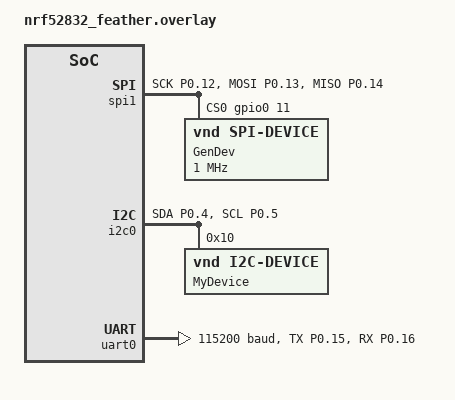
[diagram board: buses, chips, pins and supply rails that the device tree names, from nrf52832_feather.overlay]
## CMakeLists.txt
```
# SPDX-License-Identifier: Apache-2.0

cmake_minimum_required(VERSION 3.20.0)
find_package(Zephyr REQUIRED HINTS $ENV{ZEPHYR_BASE})
project(blinky)

target_sources(app PRIVATE src/main.c src/drivers/sharp.c src/font.c src/graphics.c src/watch_face.c src/drivers/gps.c src/track.c)
```

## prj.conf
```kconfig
CONFIG_GPIO=y

CONFIG_SPI=y

CONFIG_LOG=y

CONFIG_SERIAL=y

CONFIG_I2C=y

CONFIG_CONSOLE=y

CONFIG_UART_CONSOLE=y

CONFIG_LOG=y

CONFIG_LOG_BACKEND_UART=y
```

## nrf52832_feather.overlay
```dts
#include <zephyr/dt-bindings/pinctrl/nrf-pinctrl.h>

&spi1 {
        compatible = "nordic,nrf-spi";
        status = "okay";
        cs-gpios = <&gpio0 11 GPIO_ACTIVE_HIGH>;
        pinctrl-0 = <&spi1_default>;
        pinctrl-1 = <&spi1_sleep>;
        pinctrl-names = "default", "sleep";
        gendev: gendev@0 {
                compatible = "vnd,spi-device";
                reg = <0>;
                spi-max-frequency = <1000000>;
                label = "GenDev";
        };
};


&pinctrl {
    spi1_default: spi1_default {
        group1 {
            /* SPI1 active pins: SCK, MOSI, MISO */
            psels = <NRF_PSEL(SPIM_SCK, 0, 12)>, /* P0.12 */
                    <NRF_PSEL(SPIM_MOSI, 0, 13)>, /* P0.13 */
                    <NRF_PSEL(SPIM_MISO, 0, 14)>; /* P0.14 */
        };
    };

    spi1_sleep: spi1_sleep {
        group1 {
            /* Sleep state: you can leave same pins or disable input buffer etc. */
            psels = <NRF_PSEL(SPIM_SCK, 0, 12)>,
                    <NRF_PSEL(SPIM_MOSI, 0, 13)>,
                    <NRF_PSEL(SPIM_MISO, 0, 14)>;
            low-power-enable; /* example: put pins into low-power/input-disconnected */
        };
    };



    i2c0_default: i2c0_default {
        group1 {
            psels = <NRF_PSEL(TWIM_SDA, 0, 4)>, /* P0.4 */
                    <NRF_PSEL(TWIM_SCL, 0, 5)>; /* P0.5 */
        };
    };

    i2c0_sleep: i2c0_sleep {
        group1 {
            psels = <NRF_PSEL(TWIM_SDA, 0, 4)>,
                    <NRF_PSEL(TWIM_SCL, 0, 5)>;
            low-power-enable;
        };
    };

    uart0_default: uart0_default {
        group1 {
            psels = <NRF_PSEL(UART_TX, 0, 15)>, /* P0.15 */
                    <NRF_PSEL(UART_RX, 0, 16)>; /* P0.16 */
        };
    };

    uart0_sleep: uart0_sleep {
        group1 {
            psels = <NRF_PSEL(UART_TX, 0, 15)>,
                    <NRF_PSEL(UART_RX, 0, 16)>;
            low-power-enable;
        };
    };
};

&i2c0 {
    compatible = "nordic,nrf-twim";
    status = "okay";

    pinctrl-0 = < &i2c0_default >;
    pinctrl-1 = < &i2c0_sleep >;
    pinctrl-names = "default", "sleep";


    mydevice: mydevice@10 {
        compatible = "vnd,i2c-device";
        reg = <0x10>;
        label = "MyDevice";
    };
};

&uart0 {
    compatible = "nordic,nrf-uarte";
    status = "okay";
    current-speed = <115200>;
    pinctrl-0 = <&uart0_default>;
    pinctrl-1 = <&uart0_sleep>;
    pinctrl-names = "default", "sleep";
};
```

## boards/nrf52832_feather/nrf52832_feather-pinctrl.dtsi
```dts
/*
 * Copyright (c) 2022 Nordic Semiconductor
 * SPDX-License-Identifier: Apache-2.0
 */

&pinctrl {
	uart0_default: uart0_default {
		group1 {
			psels = <NRF_PSEL(UART_TX, 0, 21)>,
				<NRF_PSEL(UART_RX, 0, 19)>,
				<NRF_PSEL(UART_RTS, 0, 5)>,
				<NRF_PSEL(UART_CTS, 0, 7)>;
		};
	};

	uart0_sleep: uart0_sleep {
		group1 {
			psels = <NRF_PSEL(UART_TX, 0, 21)>,
				<NRF_PSEL(UART_RX, 0, 19)>,
				<NRF_PSEL(UART_RTS, 0, 5)>,
				<NRF_PSEL(UART_CTS, 0, 7)>;
			low-power-enable;
		};
	};
};
```

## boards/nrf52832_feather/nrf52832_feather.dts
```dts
/*
 * Copyright (c) 2018 Zelin <zelin@makerdiary.com>
 * Copyright (c) 2018 makerdiary.com.
 *
 * SPDX-License-Identifier: Apache-2.0
 */

/dts-v1/;
#include <nordic/nrf52832_qfaa.dtsi>
#include "nrf52832_feather-pinctrl.dtsi"
#include <zephyr/dt-bindings/input/input-event-codes.h>

/ {
	model = "nRF52832-FEATHER Micro Dev Kit";
	compatible = "nrf52832-feather";

	chosen {
		zephyr,console = &uart0;
		zephyr,shell-uart = &uart0;
		zephyr,uart-mcumgr = &uart0;
		zephyr,bt-mon-uart = &uart0;
		zephyr,bt-c2h-uart = &uart0;
		zephyr,sram = &sram0;
		zephyr,flash = &flash0;
		zephyr,code-partition = &slot0_partition;
	};

	leds {
		compatible = "gpio-leds";
		led0_red: led_0 {
			gpios = <&gpio0 17 GPIO_ACTIVE_LOW>;
			label = "Red LED 0";
		};
	};

	/* These aliases are provided for compatibility with samples */
	aliases {
		led0 = &led0_red;
		watchdog0 = &wdt0;
	};

};

&reg {
	regulator-initial-mode = <NRF5X_REG_MODE_DCDC>;
};

&uicr {
	gpio-as-nreset;
};

&gpiote {
	status = "okay";
};

&gpio0 {
	status = "okay";
};

&uart0 {
	status = "okay";
	compatible = "nordic,nrf-uart";
	current-speed = <115200>;
	pinctrl-0 = <&uart0_default>;
	pinctrl-1 = <&uart0_sleep>;
	pinctrl-names = "default", "sleep";
};

&flash0 {

	partitions {
		compatible = "fixed-partitions";
		#address-cells = <1>;
		#size-cells = <1>;

		boot_partition: partition@0 {
			label = "mcuboot";
			reg = <0x00000000 0xc000>;
		};
		slot0_partition: partition@c000 {
			label = "image-0";
			reg = <0x0000C000 0x32000>;
		};
		slot1_partition: partition@3e000 {
			label = "image-1";
			reg = <0x0003E000 0x32000>;
		};
		scratch_partition: partition@70000 {
			label = "image-scratch";
			reg = <0x00070000 0xa000>;
		};
		storage_partition: partition@7a000 {
			label = "storage";
			reg = <0x0007a000 0x00006000>;
		};
	};
};
```

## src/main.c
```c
/*
 * Copyright (c) 2016 Intel Corporation
 *
 * SPDX-License-Identifier: Apache-2.0
 */

#include <stdio.h>
#include <zephyr/kernel.h>
#include <zephyr/drivers/gpio.h>
#include <zephyr/drivers/uart.h>
#include <zephyr/logging/log.h>

#include "drivers/sharp.h"
#include "drivers/gps.h"
#include "watch_face.h"



// I will express a view on minimal features here:

// I think we should have 5 buttons 

// One watchface whatever that looks like
// Forward back to switch applications. 
// Select/ Start button
// "Exit"
// Multipurpose

// Three applications
// Watchface 
// - Running Activity, Elapsed Time, Elapsed distance, Current and Average Pace
// - Music, Play Pause, Skip
// Keep a state "which app is displayed" 




LOG_MODULE_REGISTER(main, LOG_LEVEL_DBG);

/* 1000 msec = 1 sec */
#define SLEEP_TIME_MS  1000

/* The devicetree node identifier for the "led0" alias. */
#define LED0_NODE DT_ALIAS(led0)

/*
 * A build error on this line means your board is unsupported.
 * See the sample documentation for information on how to fix this.
 */
static const struct gpio_dt_spec led = GPIO_DT_SPEC_GET(LED0_NODE, gpios);

int main(void)
{
	int ret;
	bool led_state = true;

	if (!gpio_is_ready_dt(&led)) {
		return 0;
	}

	ret = gpio_pin_configure_dt(&led, GPIO_OUTPUT_ACTIVE);
	if (ret < 0) {
		return 0;
	}

	ret = spi_sharp_init();
	if (ret < 0) {
        LOG_ERR("spi_sharp_init failed: %d\n", ret);
		return 0;
	}

	// Initialize UART0 for debug output
	const struct device *uart_dev = DEVICE_DT_GET(DT_NODELABEL(uart0));
	if (!device_is_ready(uart_dev)) {
		LOG_ERR("UART device not ready\n");
	} else {
		// Optional: Configure UART at runtime
		struct uart_config cfg = {
			.baudrate = 115200,
			.parity = UART_CFG_PARITY_NONE,
			.stop_bits = UART_CFG_STOP_BITS_1,
			.data_bits = UART_CFG_DATA_BITS_8,
			.flow_ctrl = UART_CFG_FLOW_CTRL_NONE,
		};
		ret = uart_configure(uart_dev, &cfg);
		if (ret < 0) {
			LOG_ERR("UART configure failed: %d\n", ret);
		} else {
			LOG_INF("UART0 initialized successfully");
		}
	}

	ret = gps_init();
	if (ret < 0) {
		LOG_ERR("gps_init failed: %d\n", ret);
		// Continue anyway, GPS might not be connected
	} else {
		LOG_INF("GPS initialized successfully");
	}

	while (1) {
		ret = gpio_pin_toggle_dt(&led);
		if (ret < 0) {
			return 0;
		}
		
		render_watch_screen();
		sharp_draw();

		led_state = !led_state;
		printf("LED state: %s\n", led_state ? "ON" : "OFF");
		k_msleep(SLEEP_TIME_MS);
	}
	return 0;
}
```

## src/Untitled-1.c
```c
#define REV(bits)
#define LETTER(a, b, c, d, e) (REV(d) | (REV(c) << 4) | )






a = LETTER(
0b0110
0b1001
0b1111
0b1001
0b1001
)
```

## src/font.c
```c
#include "font.h"

uint64_t font[256] = {
    #include "font.txt"
};

 uint64_t digit_bmp[13] = {
    #include "digit_bmp.txt"
 };
```

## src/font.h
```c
#pragma once

#include <stdint.h>

#define SPACE 11
#define COLON 10
#define POINT 12

#define FONT_WIDTH 5
#define FONT_HEIGHT 8

extern uint64_t font[256];

// These have to be written backwards manually
extern uint64_t digit_bmp[13];
```

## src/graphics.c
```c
#include "graphics.h"
#include <stdlib.h>
#include <string.h>
#include <stdio.h>

#include "font.h"
#include "drivers/sharp.h"


/* Bresenham line draw */
void drawLine(int x0, int y0, int x1, int y1) {
    int dx = abs(x1 - x0), sx = x0 < x1 ? 1 : -1;
    int dy = -abs(y1 - y0), sy = y0 < y1 ? 1 : -1;
    int err = dx + dy, e2;
    for (int i = 0; ; i++) {
        setPixel(x0, y0, 1);
        if (x0 == x1 && y0 == y1) break;
        e2 = 2 * err;
        if (e2 >= dy) { err += dy; x0 += sx; }
        if (e2 <= dx) { err += dx; y0 += sy; }
    }
}

/*
Draws a digit 0 through 9, or :, . or space at the specified coords;
*/

void drawDigit(int x0, int y0, uint8_t digit, uint8_t scale){
    for(int i = 0; i< FONT_HEIGHT * scale; i++){
        uint8_t real_i = i / scale;
        for(int j = 0; j< FONT_WIDTH* scale; j++){
            uint8_t real_j = j / scale;
            uint8_t idx = real_i * FONT_WIDTH + real_j;
            uint8_t bit = (digit_bmp[digit] & (1ll << idx)) >> idx;
            setPixel(x0 + j, y0 + i, bit);
        }
    }
}

/*
Draws a character athe specified coords;
*/

void drawChar(int x0, int y0, char ch, uint8_t scale){
    // Handle characters that might not be in font - show as space or placeholder
    // NMEA sentences use: $, *, comma, period, letters, numbers
    // If font[ch] is 0 (empty), it means the character isn't defined
    // For now, we'll try to render it anyway - if it's empty, nothing will show
    
    for(int i = 0; i< FONT_HEIGHT * scale; i++){
        uint8_t real_i = i / scale;
        for(int j = 0; j< FONT_WIDTH* scale; j++){
            uint8_t real_j = j / scale;
            uint8_t idx = real_i * FONT_WIDTH + real_j;
            uint8_t bit = (font[ch] & (1ll << idx)) >> idx;
            setPixel(x0 + j, y0 + i, bit);
        }
    }
}

void drawTime( uint8_t hh, uint8_t mm, uint8_t ss, uint8_t x0, uint8_t y0, uint8_t scale){
    uint8_t out[] = {0, 0, COLON, 0, 0, COLON, 0, 0};
    out[0] = hh / 10;
    out[1] = hh % 10;
    out[3] = mm / 10;
    out[4] = mm % 10;
    out[6] = ss / 10;
    out[7] = ss % 10;
    for(int i = 0; i< 8; i++){
        drawDigit(x0 + i * ( FONT_WIDTH + 1) * scale, y0, out[i], scale);
    }

}

void drawText(char* str, uint8_t x0, uint8_t y0, uint8_t scale){

    for(int i = 0 ; str[i]; i++){
        drawChar(x0 + i * ( FONT_WIDTH + 1) * scale, y0, str[i], scale);
    }

}

void drawFloat(float value, int decimals, uint8_t x0, uint8_t y0, uint8_t scale) {
    // Handle negative numbers
    if (value < 0) {
        drawChar(x0, y0, '-', scale);
        x0 += (FONT_WIDTH + 1) * scale;
        value = -value;
    }
    
    // Extract integer and fractional parts
    int int_part = (int)value;
    float frac_part = value - int_part;
    
    // Print integer part
    char int_str[16];
    snprintf(int_str, sizeof(int_str), "%d", int_part);
    drawText(int_str, x0, y0, scale);
    x0 += strlen(int_str) * (FONT_WIDTH + 1) * scale;
    
    // Print decimal point
    if (decimals > 0) {
        drawDigit(x0, y0, POINT, scale);
        x0 += (FONT_WIDTH + 1) * scale;
        
        // Print fractional part
        for (int i = 0; i < decimals; i++) {
            frac_part *= 10;
            int digit = (int)frac_part % 10;
            drawDigit(x0, y0, digit, scale);
            x0 += (FONT_WIDTH + 1) * scale;
        }
    }
}
```

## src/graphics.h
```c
#pragma once
#include <stdint.h>



/* Bresenham line draw */
void drawLine(int x0, int y0, int x1, int y1);

/*
Draws a digit 0 through 9, or :, . or space at the specified coords;
*/

void drawDigit(int x0, int y0, uint8_t digit, uint8_t scale);

void drawTime( uint8_t hh, uint8_t mm, uint8_t ss, uint8_t x0, uint8_t y0, uint8_t scale);

void drawText(char* str, uint8_t x0, uint8_t x1, uint8_t scale);

void drawChar(int x0, int y0, char ch, uint8_t scale);

void drawFloat(float value, int decimals, uint8_t x0, uint8_t y0, uint8_t scale);
```

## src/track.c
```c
#include "track.h"
#include <math.h>

#define TRACK_PI          3.14159265358979323846f
#define EARTH_RADIUS_M    6371000.0f
#define METERS_PER_MILE   1609.344f

/* How many recent averaged points feed the pace estimate. "Past 3 points." */
#define PACE_POINTS       3
/* Below this displacement over the pace window we treat the user as stopped
 * and report no pace, rather than dividing a few meters of GPS noise into a
 * wildly optimistic (or infinite) number. */
#define PACE_MIN_DIST_M   3.0f

typedef struct {
    float lat;
    float lon;
    int64_t t_ms;
} track_point_t;

/* --- current averaging window ------------------------------------------- */
static bool    win_open;          /* a window is in progress */
static int64_t win_start_ms;      /* uptime the window opened */
static float   win_sum_lat;
static float   win_sum_lon;
static int     win_count;

/* --- distance accumulator ----------------------------------------------- */
static bool         have_prev;    /* prev_point holds a real previous point */
static track_point_t prev_point;  /* last finalized point (for distance) */
static float        total_dist_m;

/* --- recent points for pace (oldest .. newest) -------------------------- */
static track_point_t recent[PACE_POINTS];
static int           recent_count;

static float deg2rad(float d) {
    return d * (TRACK_PI / 180.0f);
}

/* Great-circle distance between two lat/lon points, in meters. */
static float haversine_m(float lat1, float lon1, float lat2, float lon2) {
    float dlat = deg2rad(lat2 - lat1);
    float dlon = deg2rad(lon2 - lon1);
    float a = sinf(dlat * 0.5f) * sinf(dlat * 0.5f) +
              cosf(deg2rad(lat1)) * cosf(deg2rad(lat2)) *
              sinf(dlon * 0.5f) * sinf(dlon * 0.5f);
    float c = 2.0f * atan2f(sqrtf(a), sqrtf(1.0f - a));
    return EARTH_RADIUS_M * c;
}

/* Append a freshly finalized averaged point to the recent-points queue,
 * shifting out the oldest once it is full. */
static void push_recent(const track_point_t *pt) {
    if (recent_count < PACE_POINTS) {
        recent[recent_count++] = *pt;
    } else {
        for (int i = 1; i < PACE_POINTS; i++) {
            recent[i - 1] = recent[i];
        }
        recent[PACE_POINTS - 1] = *pt;
    }
}

/* Close out the current averaging window: average its fixes into one point,
 * add the segment distance, and record it for the pace estimate. */
static void finalize_window(int64_t now_ms) {
    if (win_count <= 0) {
        return;
    }

    track_point_t pt;
    pt.lat = win_sum_lat / win_count;
    pt.lon = win_sum_lon / win_count;
    pt.t_ms = now_ms;

    if (have_prev) {
        total_dist_m += haversine_m(prev_point.lat, prev_point.lon,
                                    pt.lat, pt.lon);
    }
    prev_point = pt;
    have_prev = true;

    push_recent(&pt);

    /* reset the window */
    win_open = false;
    win_count = 0;
    win_sum_lat = 0.0f;
    win_sum_lon = 0.0f;
}

void track_update(bool fix_valid, float lat, float lon, int64_t now_ms) {
    /* Close any window whose 10 s have elapsed before folding in new data, so
     * the finalized point is timestamped at the window boundary. */
    if (win_open && (now_ms - win_start_ms) >= TRACK_WINDOW_MS) {
        finalize_window(now_ms);
    }

    if (!fix_valid) {
        return;
    }

    if (!win_open) {
        win_open = true;
        win_start_ms = now_ms;
        win_count = 0;
        win_sum_lat = 0.0f;
        win_sum_lon = 0.0f;
    }

    win_sum_lat += lat;
    win_sum_lon += lon;
    win_count++;
}

float track_distance_m(void) {
    return total_dist_m;
}

bool track_pace_min_per_mile(float *out) {
    if (recent_count < 2) {
        return false;  /* need at least two points to have moved between */
    }

    float dist_m = 0.0f;
    for (int i = 1; i < recent_count; i++) {
        dist_m += haversine_m(recent[i - 1].lat, recent[i - 1].lon,
                              recent[i].lat, recent[i].lon);
    }

    int64_t span_ms = recent[recent_count - 1].t_ms - recent[0].t_ms;
    if (dist_m < PACE_MIN_DIST_M || span_ms <= 0) {
        return false;
    }

    float miles = dist_m / METERS_PER_MILE;
    float minutes = (float)span_ms / 60000.0f;
    *out = minutes / miles;
    return true;
}
```

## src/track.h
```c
#pragma once

#include <stdbool.h>
#include <stdint.h>

/*
 * Lightweight movement tracker for the running watch face.
 *
 * Distance algorithm (per design): GPS fixes are bucketed into fixed time
 * windows (TRACK_WINDOW_MS). At the end of each window the fixes in it are
 * averaged into a single "track point", which knocks down per-fix GPS jitter.
 * Distance is the running sum of the haversine distance between consecutive
 * averaged points, so we only ever need to remember the previous point (O(1)
 * memory) rather than the whole history.
 *
 * Pace is derived from just the most recent handful of averaged points.
 *
 * All functions are intended to be called from a single thread (the render
 * loop), so no locking is done here.
 */

#define TRACK_WINDOW_MS 10000   /* averaging window length: 10 s */

/* Feed the latest GPS snapshot in. Call once per render tick (~1 Hz).
 * now_ms should be k_uptime_get(). Fixes with fix_valid == false are ignored. */
void track_update(bool fix_valid, float lat, float lon, int64_t now_ms);

/* Total distance travelled since boot, in meters. */
float track_distance_m(void);

/* Recent pace in minutes per statute mile. Returns true and writes *out only
 * when there has been enough recent movement to compute a meaningful pace
 * (i.e. we're not standing still); returns false otherwise. */
bool track_pace_min_per_mile(float *out);
```

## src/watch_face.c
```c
#include <stdint.h>
#include <math.h>
#include <stdio.h>
#include <string.h>
#include "watch_face.h"
#include "drivers/sharp.h"
#include "graphics.h"
#include "font.h"
#include "drivers/gps.h"
#include "track.h"
#include <zephyr/logging/log.h>
#include <zephyr/kernel.h>
LOG_MODULE_REGISTER(watch_face, LOG_LEVEL_DBG);

/* Local time offset applied to the GPS UTC clock.
 * -4 = US Eastern Daylight Time (summer). Use -5 for EST (winter). */
#define GPS_TZ_OFFSET_HOURS (-4)

/* Currently displayed face. */
static watch_face_t current_face = FACE_DIGITAL;

void watch_face_set(watch_face_t face) {
    if (face < FACE_COUNT) {
        current_face = face;
    }
}

watch_face_t watch_face_get(void) {
    return current_face;
}

void watch_face_next(void) {
    current_face = (current_face + 1) % FACE_COUNT;
}

/* ---- local-time / calendar helpers ------------------------------------- */

static int days_in_month(int year, int month) {
    static const int dm[12] = {31, 28, 31, 30, 31, 30, 31, 31, 30, 31, 30, 31};
    if (month == 2 &&
        ((year % 4 == 0 && year % 100 != 0) || year % 400 == 0)) {
        return 29;
    }
    return dm[month - 1];
}

/* Shift a calendar date by a small number of days (used for timezone
 * rollover across midnight). */
static void add_days(int *year, int *month, int *day, int delta) {
    int d = *day;
    while (delta > 0) {
        d++;
        if (d > days_in_month(*year, *month)) {
            d = 1;
            if (++(*month) > 12) { *month = 1; (*year)++; }
        }
        delta--;
    }
    while (delta < 0) {
        d--;
        if (d < 1) {
            if (--(*month) < 1) { *month = 12; (*year)--; }
            d = days_in_month(*year, *month);
        }
        delta++;
    }
    *day = d;
}

/* Apply the timezone offset to a UTC hour, returning the local hour and how
 * many days the date rolled by. */
static int utc_hour_to_local(int utc_hour, int *day_delta) {
    int total = utc_hour + GPS_TZ_OFFSET_HOURS;
    int delta = 0;
    while (total < 0)   { total += 24; delta--; }
    while (total >= 24) { total -= 24; delta++; }
    *day_delta = delta;
    return total;
}

/* ---- digital 4-field face ---------------------------------------------- */

void render_digital_watch_face() {
    gps_coords_t coords = gps_get_coords();
    clear_screen();

    /* --- Field 1 & 2: local time and date ------------------------------ */
    int hours, minutes, seconds;
    int day_delta = 0;
    char date_buf[16];

    if (coords.time_valid) {
        hours = utc_hour_to_local(coords.utc_hours, &day_delta);
        minutes = coords.utc_minutes;
        seconds = coords.utc_seconds;
    } else {
        /* No GPS time yet: fall back to uptime so the face still ticks. */
        int64_t ms = k_uptime_get();
        hours   = (int)((ms / 3600000) % 24);
        minutes = (int)((ms / 60000) % 60);
        seconds = (int)((ms / 1000) % 60);
    }

    if (coords.time_valid && coords.date_valid) {
        int y = coords.utc_year, m = coords.utc_month, d = coords.utc_day;
        add_days(&y, &m, &d, day_delta);
        snprintf(date_buf, sizeof(date_buf), "%04d-%02d-%02d", y, m, d);
    } else {
        snprintf(date_buf, sizeof(date_buf), "----/--/--");
    }

    /* Date (scale 2) then the time as the hero (scale 3, spans full width). */
    drawText(date_buf, 6, 8, 2);
    drawTime((uint8_t)hours, (uint8_t)minutes, (uint8_t)seconds, 0, 32, 3);

    /* --- Field 3: distance since power-on ------------------------------ */
    float miles = track_distance_m() / 1609.344f;
    char dist_buf[16];
    snprintf(dist_buf, sizeof(dist_buf), "%.2f", (double)miles);
    drawText("DISTANCE (MI)", 6, 66, 1);
    drawText(dist_buf, 6, 78, 3);

    /* --- Field 4: recent pace ------------------------------------------ */
    float pace;
    char pace_buf[16];
    if (track_pace_min_per_mile(&pace) && pace < 100.0f) {
        int pm = (int)pace;
        int ps = (int)((pace - pm) * 60.0f + 0.5f);
        if (ps >= 60) { ps -= 60; pm += 1; }
        snprintf(pace_buf, sizeof(pace_buf), "%d:%02d", pm, ps);
    } else {
        snprintf(pace_buf, sizeof(pace_buf), "--:--");
    }
    drawText("PACE (MIN/MI)", 6, 112, 1);
    drawText(pace_buf, 6, 124, 3);

    /* --- small status line: GPS fix quality / satellites --------------- */
    char status_buf[24];
    if (coords.valid) {
        snprintf(status_buf, sizeof(status_buf), "GPS FIX  SATS:%d",
                 coords.num_satellites);
    } else {
        snprintf(status_buf, sizeof(status_buf), "NO FIX  SATS:%d",
                 coords.num_satellites);
    }
    drawText(status_buf, 6, 156, 1);
}

/* ---- classic analog face (unchanged behaviour) ------------------------- */

void render_analog_watch_face() {
    LOG_INF("render analog watch face");
    clear_screen();
    drawText("FOSS-WATCH", 0, 0, 2);

    /* Snapshot of the GPS state (non-blocking; updated by the GPS thread). */
    gps_coords_t coords = gps_get_coords();

    int hours, minutes, seconds, milliseconds;
    if (coords.time_valid) {
        /* Drive the clock from the time the GPS reports. */
        int local_h = ((coords.utc_hours + GPS_TZ_OFFSET_HOURS) % 24 + 24) % 24;
        hours   = local_h % 12;            /* analog clock, 12-hour */
        minutes = coords.utc_minutes;
        seconds = coords.utc_seconds;
        milliseconds = seconds * 1000;     /* no sub-second info from GPS */
    } else {
        /* Fall back to uptime until the GPS gives us a time. */
        int64_t ms = k_uptime_get();       /* milliseconds since boot */
        hours   = (ms / 3600000) % 12;
        minutes = (ms / 60000) % 60;
        milliseconds = ms % 60000;
        seconds = milliseconds / 1000;
    }

    /* Center of display */
    int cx = SHARP_W / 2;
    int cy = SHARP_H / 2;
    int radius = (SHARP_H < SHARP_W ? SHARP_H : SHARP_W) / 2 - 2;

    /* Angles in radians (0 at 12 o’clock, clockwise) */
    float secAngle = (milliseconds / 60000.0f) * 2 * M_PI;
    float minAngle = (minutes / 60.0f) * 2 * M_PI;
    float hourAngle = ((hours + minutes/60.0f) / 12.0f) * 2 * M_PI;

    /* Hand endpoints */
    int sx = cx + (int)(radius * 0.9f * sinf(secAngle));
    int sy = cy - (int)(radius * 0.9f * cosf(secAngle));
    int mx = cx + (int)(radius * 0.75f * sinf(minAngle));
    int my = cy - (int)(radius * 0.75f * cosf(minAngle));
    int hx = cx + (int)(radius * 0.5f * sinf(hourAngle));
    int hy = cy - (int)(radius * 0.5f * cosf(hourAngle));

    /* Draw hands */
    drawLine(cx, cy, hx, hy);  // hour hand
    drawLine(cx, cy, mx, my);  // minute hand
    drawLine(cx, cy, sx, sy);  // second hand

    drawTime(hours, minutes, seconds,  0, 140, 2);

    // Display GPS coordinates with debug info
    if (coords.valid) {
        drawText("Lat:", 0, 100, 1);
        drawFloat(coords.latitude, 5, 30, 100, 1);

        drawText("Lon:", 0, 110, 1);
        drawFloat(coords.longitude, 5, 30, 110, 1);
    } else {
        // Show detailed debug info
        char debug_buf[32];
        if (!coords.i2c_ok) {
            snprintf(debug_buf, sizeof(debug_buf), "I2C err:%d", coords.i2c_error);
            drawText(debug_buf, 0, 100, 1);
        } else if (!coords.data_received) {
            snprintf(debug_buf, sizeof(debug_buf), "No data err:%d", coords.i2c_error);
            drawText(debug_buf, 0, 100, 1);
            snprintf(debug_buf, sizeof(debug_buf), "Bytes:%d nz:%d",
                    coords.bytes_received, coords.nonzero_bytes);
            drawText(debug_buf, 0, 110, 1);
        } else {
            drawText("GPS: No fix", 0, 100, 1);
            // Show fix quality and satellite count
            char status_buf[32];
            if (coords.fix_quality >= 0) {
                snprintf(status_buf, sizeof(status_buf), "Q:%d Sats:%d",
                        coords.fix_quality, coords.num_satellites);
                drawText(status_buf, 0, 110, 1);

                // Show full NMEA sentence if available (split across multiple lines)
                if (coords.last_sentence[0] != '\0') {
                    int len = strlen(coords.last_sentence);
                    // Display up to 23 chars per line (144px / 6px per char, leave some margin)
                    int chars_per_line = 23;
                    int y_pos = 120;
                    int line = 0;

                    // Display sentence across multiple lines
                    for (int i = 0; i < len && line < 3; i += chars_per_line) {
                        char line_buf[24];
                        int remaining = len - i;
                        int copy_len = (remaining < chars_per_line) ? remaining : chars_per_line;
                        strncpy(line_buf, &coords.last_sentence[i], copy_len);
                        line_buf[copy_len] = '\0';
                        drawText(line_buf, 0, y_pos + (line * 10), 1);
                        line++;
                    }
                }
            } else if (coords.last_sentence[0] != '\0') {
                // Show sentence type if no quality info yet
                char sentence_type[8] = {0};
                int len = strlen(coords.last_sentence);
                int copy_len = (len < 7) ? len : 7;
                strncpy(sentence_type, coords.last_sentence, copy_len);
                sentence_type[copy_len] = '\0';
                drawText(sentence_type, 0, 110, 1);
            } else {
                drawText("Waiting...", 0, 110, 1);
            }
        }
    }
}

/* ---- dispatch ---------------------------------------------------------- */

void render_watch_screen() {
    /* Feed the movement tracker every tick, regardless of which face is shown,
     * so distance-since-boot stays accurate even while viewing the analog face. */
    gps_coords_t coords = gps_get_coords();
    track_update(coords.valid, coords.latitude, coords.longitude, k_uptime_get());

    switch (current_face) {
    case FACE_ANALOG:
        render_analog_watch_face();
        break;
    case FACE_DIGITAL:
    default:
        render_digital_watch_face();
        break;
    }
}
```

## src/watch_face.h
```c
#pragma once

/* Available watch faces. */
typedef enum {
    FACE_DIGITAL = 0,   /* clean 4-field running face (default) */
    FACE_ANALOG,        /* classic hands-and-debug face */
    FACE_COUNT
} watch_face_t;

/* Render whichever face is currently selected (and keep the movement tracker
 * fed). Called once per render tick from the main loop. */
void render_watch_screen();

/* Individual faces, exposed so a button handler can pick one directly. */
void render_digital_watch_face();
void render_analog_watch_face();

/* Face selection, for future button handling. */
void watch_face_set(watch_face_t face);
watch_face_t watch_face_get(void);
void watch_face_next(void);   /* cycle to the next face */
```
